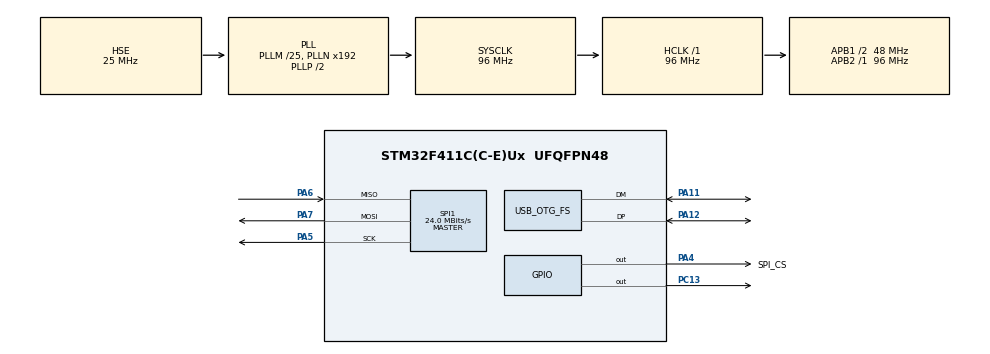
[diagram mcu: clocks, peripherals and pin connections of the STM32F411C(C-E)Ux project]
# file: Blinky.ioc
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Dma.Request0=SPI1_RX
Dma.Request1=SPI1_TX
Dma.SPI1_RX.0.Direction=DMA_PERIPH_TO_MEMORY
Dma.SPI1_RX.0.FIFOMode=DMA_FIFOMODE_DISABLE
Dma.SPI1_RX.0.Instance=DMA2_Stream0
Dma.SPI1_RX.0.MemDataAlignment=DMA_MDATAALIGN_BYTE
Dma.SPI1_RX.0.MemInc=DMA_MINC_ENABLE
Dma.SPI1_RX.0.Mode=DMA_NORMAL
Dma.SPI1_RX.0.PeriphDataAlignment=DMA_PDATAALIGN_BYTE
Dma.SPI1_RX.0.PeriphInc=DMA_PINC_DISABLE
Dma.SPI1_RX.0.Priority=DMA_PRIORITY_LOW
Dma.SPI1_TX.1.Direction=DMA_MEMORY_TO_PERIPH
Dma.SPI1_TX.1.FIFOMode=DMA_FIFOMODE_DISABLE
Dma.SPI1_TX.1.Instance=DMA2_Stream2
Dma.SPI1_TX.1.MemDataAlignment=DMA_MDATAALIGN_BYTE
Dma.SPI1_TX.1.MemInc=DMA_MINC_ENABLE
Dma.SPI1_TX.1.Mode=DMA_NORMAL
Dma.SPI1_TX.1.PeriphDataAlignment=DMA_PDATAALIGN_BYTE
Dma.SPI1_TX.1.PeriphInc=DMA_PINC_DISABLE
Dma.SPI1_TX.1.Priority=DMA_PRIORITY_LOW
Mcu.Family=STM32F4
Mcu.Name=STM32F411C(C-E)Ux
Mcu.Package=UFQFPN48
NVIC.DMA2_Stream0_IRQn=true\:0\:0\:false\:false\:true\:false\:true\:true
NVIC.DMA2_Stream2_IRQn=true\:0\:0\:false\:false\:true\:false\:true\:true
NVIC.OTG_FS_IRQn=true\:0\:0\:false\:false\:true\:false\:true\:true
NVIC.PriorityGroup=NVIC_PRIORITYGROUP_4
NimaLTD.I-CUBE-SPIF.2.2.0.DriverJjSPIF=true
NimaLTD.I-CUBE-SPIF.2.2.0.SPIF_DEBUG=SPIF_DEBUG_FULL
PA11.Mode=Device_Only
PA11.Signal=USB_OTG_FS_DM
PA12.Mode=Device_Only
PA12.Signal=USB_OTG_FS_DP
PA13.Mode=Serial_Wire
PA13.Signal=SYS_JTMS-SWDIO
PA14.Mode=Serial_Wire
PA14.Signal=SYS_JTCK-SWCLK
PA4.GPIO_Label=SPI_CS
PA4.GPIO_PuPd=GPIO_NOPULL
PA4.GPIO_Speed=GPIO_SPEED_FREQ_LOW
PA4.PinState=GPIO_PIN_RESET
PA4.Signal=GPIO_Output
PA5.Mode=Full_Duplex_Master
PA5.Signal=SPI1_SCK
PA6.Mode=Full_Duplex_Master
PA6.Signal=SPI1_MISO
PA7.Mode=Full_Duplex_Master
PA7.Signal=SPI1_MOSI
PB3.Signal=SYS_JTDO-SWO
PC13-ANTI_TAMP.Signal=GPIO_Output
PC14-OSC32_IN.Mode=LSE-External-Oscillator
PC14-OSC32_IN.Signal=RCC_OSC32_IN
PC15-OSC32_OUT.Mode=LSE-External-Oscillator
PC15-OSC32_OUT.Signal=RCC_OSC32_OUT
PH0\ -\ OSC_IN.Mode=HSE-External-Oscillator
PH0\ -\ OSC_IN.Signal=RCC_OSC_IN
PH1\ -\ OSC_OUT.Mode=HSE-External-Oscillator
PH1\ -\ OSC_OUT.Signal=RCC_OSC_OUT
ProjectManager.HeapSize=0x200
ProjectManager.StackSize=0x400
ProjectManager.TargetToolchain=STM32CubeIDE
RCC.48MHZClocksFreq_Value=48000000
RCC.AHBFreq_Value=96000000
RCC.APB1CLKDivider=RCC_HCLK_DIV2
RCC.APB1Freq_Value=48000000
RCC.APB1TimFreq_Value=96000000
RCC.APB2Freq_Value=96000000
RCC.APB2TimFreq_Value=96000000
RCC.CortexFreq_Value=96000000
RCC.HCLKFreq_Value=96000000
RCC.HSE_VALUE=25000000
RCC.HSI_VALUE=16000000
RCC.PLLM=25
RCC.SYSCLKFreq_VALUE=96000000
RCC.SYSCLKSource=RCC_SYSCLKSOURCE_PLLCLK
RCC.VCOOutputFreq_Value=192000000
SPI1.BaudRatePrescaler=SPI_BAUDRATEPRESCALER_4
SPI1.CalculateBaudRate=24.0 MBits/s
SPI1.Direction=SPI_DIRECTION_2LINES
SPI1.Mode=SPI_MODE_MASTER
SPI1.VirtualType=VM_MASTER
USB_DEVICE.CLASS_NAME_FS=CDC
USB_DEVICE.VirtualMode=Cdc
USB_DEVICE.VirtualModeFS=Cdc_FS
USB_OTG_FS.VirtualMode=Device_Only
VP_NimaLTD.I-CUBE-SPIF_VS_DriverJjSPIF_1.0.0_2.2.0.Mode=DriverJjSPIF
VP_USB_DEVICE_VS_USB_DEVICE_CDC_FS.Mode=CDC_FS
board=custom

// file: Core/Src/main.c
/* USER CODE BEGIN Header */
/**
 ******************************************************************************
 * @file           : main.c
 * @brief          : Main program body
 ******************************************************************************
 * @attention
 *
 * Copyright (c) 2024 STMicroelectronics.
 * All rights reserved.
 *
 * This software is licensed under terms that can be found in the LICENSE file
 * in the root directory of this software component.
 * If no LICENSE file comes with this software, it is provided AS-IS.
 *
 ******************************************************************************
 */
/* USER CODE END Header */
#include "main.h"
#include "usb_device.h"

/* USER CODE BEGIN Includes */
#include <stdio.h>

/* USER CODE END Includes */

SPI_HandleTypeDef hspi1;
DMA_HandleTypeDef hdma_spi1_rx;
DMA_HandleTypeDef hdma_spi1_tx;

void SystemClock_Config(void);
static void MX_GPIO_Init(void);
static void MX_DMA_Init(void);
static void MX_SPI1_Init(void);
/* USER CODE BEGIN PFP */
uint8_t CDC_Transmit_FS(uint8_t *Buf, uint16_t Len);

/* USER CODE END PFP */

/* USER CODE BEGIN 0 */
int _write(int le, char *ptr, int len)
{
	int DataIdx;
	for(DataIdx = 0; DataIdx < len; DataIdx++)
	{
		ITM_SendChar(*ptr++);
	}
	return len;
}

uint8_t page_buffer[256];

/* USER CODE END 0 */

int main(void)
{

  /* MCU Configuration--------------------------------------------------------*/

  /* Reset of all peripherals, Initializes the Flash interface and the Systick. */
  HAL_Init();

  /* Configure the system clock */
  SystemClock_Config();

  /* Initialize all configured peripherals */
  MX_GPIO_Init();
  MX_DMA_Init();
  MX_USB_DEVICE_Init();
  MX_SPI1_Init();
  /* USER CODE BEGIN 2 */

  printf("SDO Debugging Initialized...\n");

	SPIF_HandleTypeDef hSPIF = { 0 };
	SPIF_Init(&hSPIF, &hspi1, SPI_CS_GPIO_Port, SPI_CS_Pin);

	// Wait 5 seconds before we dump the data.
	HAL_Delay(5000);

	// Init variables.
	bool bResult = false;
	uint8_t string_buffer[128];

	bResult = SPIF_EraseChip(&hSPIF);
	if (bResult) {
		sprintf((char*) string_buffer, "Chip Erased Successfully!\r\n");
		CDC_Transmit_FS(string_buffer,
				(uint16_t) strlen((char*) string_buffer));
	} else {
		sprintf((char*) string_buffer, "Chip Erase FAILED!\r\n");
		CDC_Transmit_FS(string_buffer,
				(uint16_t) strlen((char*) string_buffer));
	}

	// Write a page of data to the SPI chip.
	memset((void*) page_buffer, 0, sizeof(page_buffer));
	for (int q = 0; q < 256; q++)
		page_buffer[q] = q;
	// Erase the page first.
	bResult = SPIF_EraseSector(&hSPIF, 0);
	if (bResult) {
		sprintf((char*) string_buffer, "Page Erased Successfully!\r\n");
		CDC_Transmit_FS(string_buffer,
				(uint16_t) strlen((char*) string_buffer));
	} else {
		sprintf((char*) string_buffer, "Page Erase FAILED!\r\n");
		CDC_Transmit_FS(string_buffer,
				(uint16_t) strlen((char*) string_buffer));
	}
	// Write the page.
	bResult = SPIF_WritePage(&hSPIF, 0, page_buffer, 256, 0);
	if (bResult) {
		sprintf((char*) string_buffer, "Page Written Successfully!\r\n");
		CDC_Transmit_FS(string_buffer,
				(uint16_t) strlen((char*) string_buffer));
	} else {
		sprintf((char*) string_buffer, "Page Written FAILED!\r\n");
		CDC_Transmit_FS(string_buffer,
				(uint16_t) strlen((char*) string_buffer));
	}

	// Read the page and dump it to serial.
	memset((void*) page_buffer, 0, sizeof(page_buffer));
	bResult = SPIF_ReadPage(&hSPIF, 0, page_buffer, 256, 0);
	if (bResult) {
		for (int i = 0; i < 256; i += 8) {
			sprintf((char*) string_buffer,
					"%04x: %02x %02x %02x %02x %02x %02x %02x %02x\r\n", i,
					page_buffer[i + 0], page_buffer[i + 1], page_buffer[i + 2],
					page_buffer[i + 3], page_buffer[i + 4], page_buffer[i + 5],
					page_buffer[i + 6], page_buffer[i + 7]);
			CDC_Transmit_FS(string_buffer,
					(uint16_t) strlen((char*) string_buffer));
			HAL_Delay(10);
		}
	}
	sprintf((char*) string_buffer,
			"\r\n--------------------------------------------------------------\r\n");
	CDC_Transmit_FS(string_buffer, (uint16_t) strlen((char*) string_buffer));
	HAL_Delay(50);

  /* USER CODE END 2 */

  /* Infinite loop */
  /* USER CODE BEGIN WHILE */
	uint8_t led_state = 0;

	while (1) {
    /* USER CODE END WHILE */

    /* USER CODE BEGIN 3 */
		if (led_state)
			HAL_GPIO_WritePin(GPIOC, GPIO_PIN_13, GPIO_PIN_SET);
		else
			HAL_GPIO_WritePin(GPIOC, GPIO_PIN_13, GPIO_PIN_RESET);
		led_state = !led_state;

		HAL_Delay(500);
	}
  /* USER CODE END 3 */
}

void SystemClock_Config(void)
{
  RCC_OscInitTypeDef RCC_OscInitStruct = {0};
  RCC_ClkInitTypeDef RCC_ClkInitStruct = {0};

  /** Configure the main internal regulator output voltage
  */
  __HAL_RCC_PWR_CLK_ENABLE();
  __HAL_PWR_VOLTAGESCALING_CONFIG(PWR_REGULATOR_VOLTAGE_SCALE1);

  /** Initializes the RCC Oscillators according to the specified parameters
  * in the RCC_OscInitTypeDef structure.
  */
  RCC_OscInitStruct.OscillatorType = RCC_OSCILLATORTYPE_HSE;
  RCC_OscInitStruct.HSEState = RCC_HSE_ON;
  RCC_OscInitStruct.PLL.PLLState = RCC_PLL_ON;
  RCC_OscInitStruct.PLL.PLLSource = RCC_PLLSOURCE_HSE;
  RCC_OscInitStruct.PLL.PLLM = 25;
  RCC_OscInitStruct.PLL.PLLN = 192;
  RCC_OscInitStruct.PLL.PLLP = RCC_PLLP_DIV2;
  RCC_OscInitStruct.PLL.PLLQ = 4;
  if (HAL_RCC_OscConfig(&RCC_OscInitStruct) != HAL_OK)
  {
    Error_Handler();
  }

  /** Initializes the CPU, AHB and APB buses clocks
  */
  RCC_ClkInitStruct.ClockType = RCC_CLOCKTYPE_HCLK|RCC_CLOCKTYPE_SYSCLK
                              |RCC_CLOCKTYPE_PCLK1|RCC_CLOCKTYPE_PCLK2;
  RCC_ClkInitStruct.SYSCLKSource = RCC_SYSCLKSOURCE_PLLCLK;
  RCC_ClkInitStruct.AHBCLKDivider = RCC_SYSCLK_DIV1;
  RCC_ClkInitStruct.APB1CLKDivider = RCC_HCLK_DIV2;
  RCC_ClkInitStruct.APB2CLKDivider = RCC_HCLK_DIV1;

  if (HAL_RCC_ClockConfig(&RCC_ClkInitStruct, FLASH_LATENCY_3) != HAL_OK)
  {
    Error_Handler();
  }
}

static void MX_SPI1_Init(void)
{

  /* SPI1 parameter configuration*/
  hspi1.Instance = SPI1;
  hspi1.Init.Mode = SPI_MODE_MASTER;
  hspi1.Init.Direction = SPI_DIRECTION_2LINES;
  hspi1.Init.DataSize = SPI_DATASIZE_8BIT;
  hspi1.Init.CLKPolarity = SPI_POLARITY_LOW;
  hspi1.Init.CLKPhase = SPI_PHASE_1EDGE;
  hspi1.Init.NSS = SPI_NSS_SOFT;
  hspi1.Init.BaudRatePrescaler = SPI_BAUDRATEPRESCALER_4;
  hspi1.Init.FirstBit = SPI_FIRSTBIT_MSB;
  hspi1.Init.TIMode = SPI_TIMODE_DISABLE;
  hspi1.Init.CRCCalculation = SPI_CRCCALCULATION_DISABLE;
  hspi1.Init.CRCPolynomial = 10;
  if (HAL_SPI_Init(&hspi1) != HAL_OK)
  {
    Error_Handler();
  }

}

static void MX_DMA_Init(void)
{

  /* DMA controller clock enable */
  __HAL_RCC_DMA2_CLK_ENABLE();

  /* DMA interrupt init */
  /* DMA2_Stream0_IRQn interrupt configuration */
  HAL_NVIC_SetPriority(DMA2_Stream0_IRQn, 0, 0);
  HAL_NVIC_EnableIRQ(DMA2_Stream0_IRQn);
  /* DMA2_Stream2_IRQn interrupt configuration */
  HAL_NVIC_SetPriority(DMA2_Stream2_IRQn, 0, 0);
  HAL_NVIC_EnableIRQ(DMA2_Stream2_IRQn);

}

static void MX_GPIO_Init(void)
{
  GPIO_InitTypeDef GPIO_InitStruct = {0};

  /* GPIO Ports Clock Enable */
  __HAL_RCC_GPIOC_CLK_ENABLE();
  __HAL_RCC_GPIOH_CLK_ENABLE();
  __HAL_RCC_GPIOA_CLK_ENABLE();
  __HAL_RCC_GPIOB_CLK_ENABLE();

  /*Configure GPIO pin Output Level */
  HAL_GPIO_WritePin(GPIOC, GPIO_PIN_13, GPIO_PIN_RESET);

  /*Configure GPIO pin Output Level */
  HAL_GPIO_WritePin(SPI_CS_GPIO_Port, SPI_CS_Pin, GPIO_PIN_RESET);

  /*Configure GPIO pin : PC13 */
  GPIO_InitStruct.Pin = GPIO_PIN_13;
  GPIO_InitStruct.Mode = GPIO_MODE_OUTPUT_PP;
  GPIO_InitStruct.Pull = GPIO_NOPULL;
  GPIO_InitStruct.Speed = GPIO_SPEED_FREQ_LOW;
  HAL_GPIO_Init(GPIOC, &GPIO_InitStruct);

  /*Configure GPIO pin : SPI_CS_Pin */
  GPIO_InitStruct.Pin = SPI_CS_Pin;
  GPIO_InitStruct.Mode = GPIO_MODE_OUTPUT_PP;
  GPIO_InitStruct.Pull = GPIO_NOPULL;
  GPIO_InitStruct.Speed = GPIO_SPEED_FREQ_LOW;
  HAL_GPIO_Init(SPI_CS_GPIO_Port, &GPIO_InitStruct);

}

void Error_Handler(void)
{
	__disable_irq();
	while (1) {
	}
}
